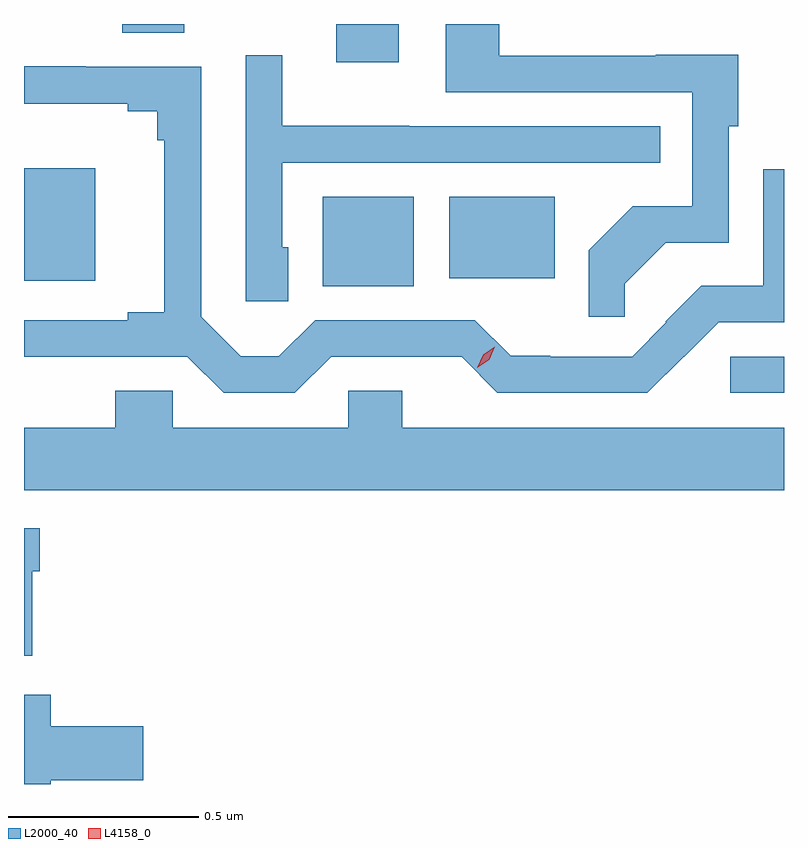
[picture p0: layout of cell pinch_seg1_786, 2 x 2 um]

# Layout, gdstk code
import gdstk
lib = gdstk.Library(unit=1e-6, precision=1e-09)
def R(c, l, rs):  # rectangles x0, y0, x1, y1
    for r in rs: c.add(gdstk.rectangle(r[:2], r[2:], *l))
def P(c, l, *ps):  # polygons
    for p in ps: c.add(gdstk.Polygon(p, *l))
L2000_40 = (2000, 40)
L4158_0 = (4158, 0)

pinch_seg1_786 = lib.new_cell('pinch_seg1_786')
R(pinch_seg1_786, L2000_40, [(853.923,517.356,854.065,517.452), (852.851,517.637,853.09,517.873), (852.065,517.652,852.253,517.948), (853.184,517.658,853.462,517.873), (852.887,518.226,853.051,518.327), (852.323,518.304,852.487,518.327)])
P(pinch_seg1_786, L2000_40, [(853.646,517.644),(853.754,517.752),(853.92,517.752),(853.92,518.058),(853.945,518.058),(853.945,518.246),(853.727,518.246),(853.727,518.244),(853.315,518.244),(853.315,518.327),(853.175,518.327),(853.175,518.148),(853.824,518.148),(853.824,517.848),(853.667,517.848),(853.551,517.732),(853.551,517.557),(853.646,517.557)],
  [(852.76,517.74),(852.744,517.74),(852.744,517.962),(853.739,517.962),(853.739,518.058),(853.079,518.058),(853.079,518.059),(852.745,518.059),(852.745,518.245),(852.648,518.245),(852.648,517.597),(852.76,517.597)],
  [(852.873,517.452),(853.112,517.452),(853.112,517.451),(853.217,517.451),(853.311,517.356),(853.705,517.356),(853.801,517.452),(853.802,517.451),(853.893,517.542),(854.065,517.542),(854.065,517.945),(854.01,517.945),(854.01,517.638),(853.847,517.638),(853.753,517.544),(853.755,517.542),(853.665,517.452),(853.45,517.452),(853.45,517.454),(853.346,517.454),(853.251,517.548),(852.831,517.548),(852.736,517.453),(852.635,517.453),(852.531,517.557),(852.531,518.214),(852.227,518.214),(852.227,518.216),(852.065,518.216),(852.065,518.117),(852.338,518.117),(852.338,518.098),(852.415,518.098),(852.415,518.021),(852.434,518.021),(852.434,517.568),(852.338,517.568),(852.338,517.548),(852.065,517.548),(852.065,517.451),(852.261,517.451),(852.261,517.452),(852.494,517.452),(852.59,517.356),(852.777,517.356)],
  [(854.065,517.264),(853.06,517.264),(853.06,517.362),(852.918,517.362),(852.918,517.264),(852.456,517.264),(852.456,517.362),(852.305,517.362),(852.305,517.264),(852.065,517.264),(852.065,517.1),(854.065,517.1)],
  [(852.087,516.887),(852.107,516.887),(852.107,517),(852.065,517),(852.065,516.665),(852.087,516.665)],
  [(852.136,516.337),(852.379,516.337),(852.379,516.479),(852.136,516.479),(852.136,516.562),(852.065,516.562),(852.065,516.327),(852.136,516.327)])
P(pinch_seg1_786, L4158_0, [(853.258,517.423),(853.258,517.423),(853.273,517.457),(853.304,517.478),(853.304,517.478),(853.304,517.478),(853.289,517.444),(853.258,517.423)])

lib.write_gds('pinch_seg1_786.gds')
